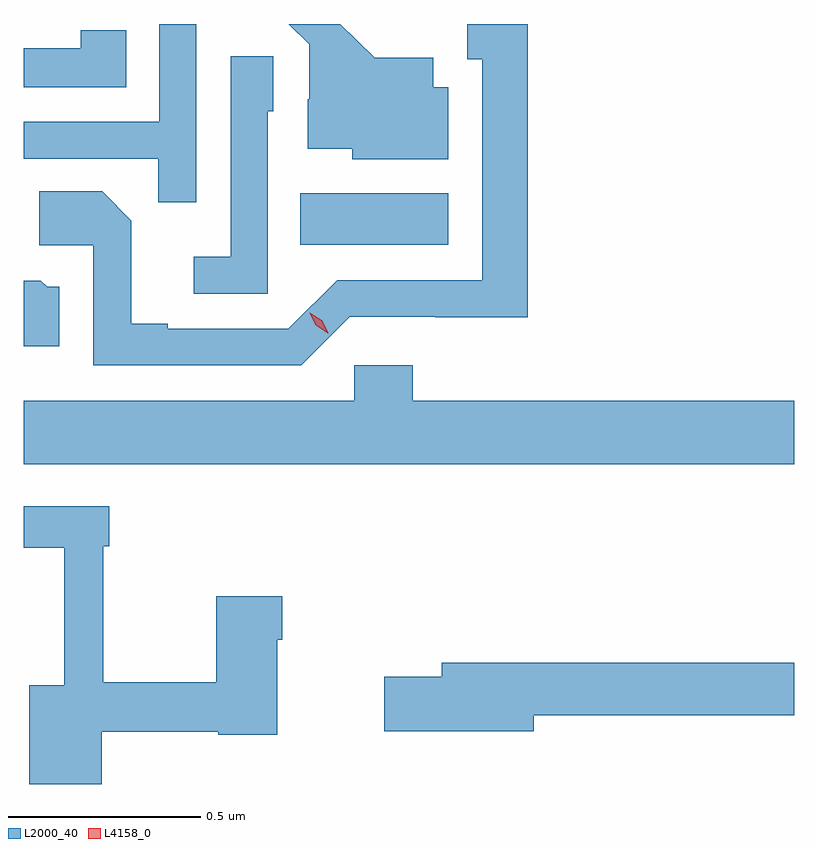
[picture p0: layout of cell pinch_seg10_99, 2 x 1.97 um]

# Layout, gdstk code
import gdstk
lib = gdstk.Library(unit=1e-6, precision=1e-09)
def R(c, l, rs):  # rectangles x0, y0, x1, y1
    for r in rs: c.add(gdstk.rectangle(r[:2], r[2:], *l))
def P(c, l, *ps):  # polygons
    for p in ps: c.add(gdstk.Polygon(p, *l))
L2000_40 = (2000, 40)
L4158_0 = (4158, 0)

pinch_seg10_99 = lib.new_cell('pinch_seg10_99')
R(pinch_seg10_99, L2000_40, [(720.562,1294.226,720.946,1294.36)])
P(pinch_seg10_99, L2000_40, [(720.69,1294.038),(720.912,1294.038),(720.912,1294.037),(721.153,1294.037),(721.153,1294.799),(720.995,1294.799),(720.995,1294.707),(721.034,1294.707),(721.034,1294.134),(720.657,1294.134),(720.531,1294.008),(720.217,1294.008),(720.217,1294.021),(720.123,1294.021),(720.123,1294.288),(720.047,1294.364),(719.883,1294.364),(719.883,1294.224),(720.024,1294.224),(720.024,1293.912),(720.564,1293.912)],
  [(720.291,1294.799),(720.195,1294.799),(720.195,1294.545),(719.844,1294.545),(719.844,1294.449),(720.193,1294.449),(720.193,1294.336),(720.291,1294.336)],
  [(720.946,1294.635),(720.907,1294.635),(720.907,1294.711),(720.755,1294.711),(720.666,1294.799),(720.532,1294.799),(720.585,1294.746),(720.585,1294.604),(720.581,1294.604),(720.581,1294.475),(720.696,1294.475),(720.696,1294.448),(720.946,1294.448)],
  [(720.11,1294.783),(719.992,1294.783),(719.992,1294.736),(719.844,1294.736),(719.844,1294.635),(720.11,1294.635)],
  [(720.477,1294.572),(720.492,1294.572),(720.492,1294.715),(720.381,1294.715),(720.381,1294.195),(720.285,1294.195),(720.285,1294.098),(720.477,1294.098)],
  [(719.935,1294.116),(719.904,1294.116),(719.888,1294.132),(719.844,1294.132),(719.844,1293.962),(719.935,1293.962)],
  [(721.844,1293.82),(720.854,1293.82),(720.854,1293.913),(720.702,1293.913),(720.702,1293.82),(719.844,1293.82),(719.844,1293.656),(721.844,1293.656)],
  [(720.046,1292.961),(720.348,1292.961),(720.348,1292.953),(720.502,1292.953),(720.502,1293.2),(720.515,1293.2),(720.515,1293.313),(720.344,1293.313),(720.344,1293.089),(720.05,1293.089),(720.05,1293.443),(720.065,1293.443),(720.065,1293.546),(719.844,1293.546),(719.844,1293.438),(719.948,1293.438),(719.948,1293.082),(719.858,1293.082),(719.858,1292.825),(720.046,1292.825)],
  [(721.168,1293.004),(721.844,1293.004),(721.844,1293.14),(720.929,1293.14),(720.929,1293.104),(720.78,1293.104),(720.78,1292.962),(721.168,1292.962)])
P(pinch_seg10_99, L4158_0, [(720.633,1293.996),(720.602,1294.016),(720.586,1294.049),(720.586,1294.049),(720.586,1294.049),(720.617,1294.03),(720.634,1293.997),(720.634,1293.996)])

lib.write_gds('pinch_seg10_99.gds')
